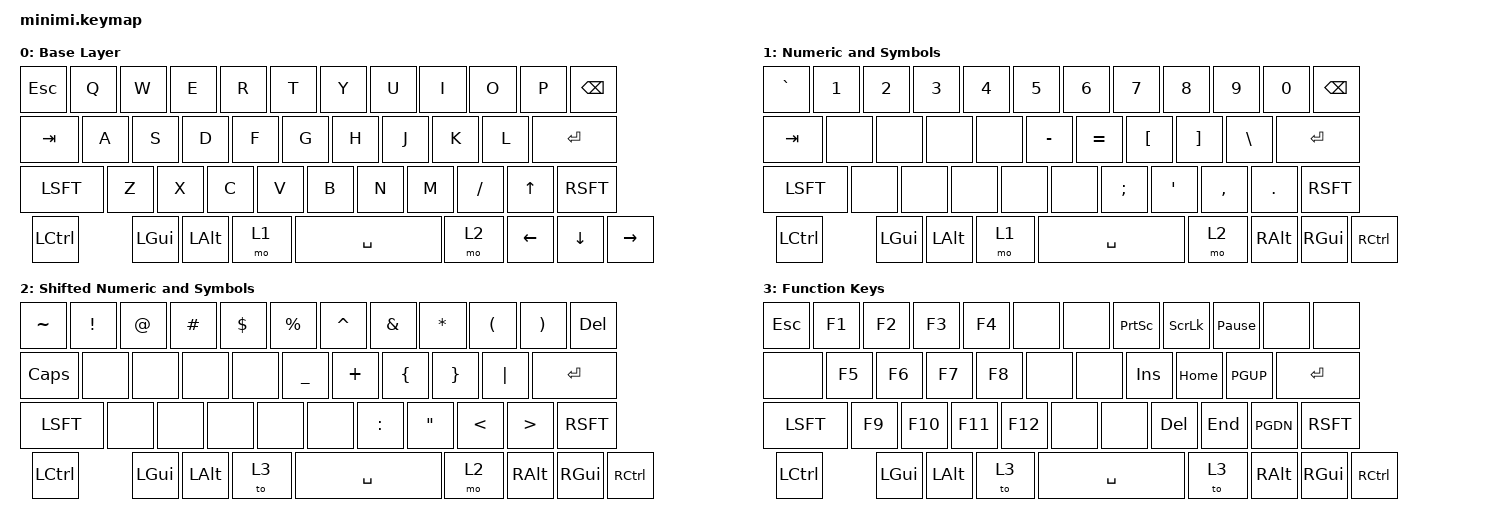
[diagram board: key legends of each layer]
// This file was generated from a template. Edit it to match your keyboard.
// See https://zmk.dev/docs/development/hardware-integration/new-shield for more instructions.

#include <behaviors.dtsi>
#include <dt-bindings/zmk/keys.h>

/ {
    // Define a default keymap here.
    // See https://zmk.dev/docs/development/hardware-integration/new-shield#default-keymap.
    keymap {
        compatible = "zmk,keymap";

        // Layer 0: Base Alpha layout
        /*
         * ┌───┬───┬───┬───┬───┬───┬───┬───┬───┬───┬───┬───┐
         * │ESC│ Q │ W │ E │ R │ T │ Y │ U │ I │ O │ P │BKS│
         * ├───┴┬──┴┬──┴┬──┴┬──┴┬──┴┬──┴┬──┴┬──┴┬──┴┬──┴───┤
         * │TAB │ A │ S │ D │ F │ G │ H │ J │ K │ L │ ENT  │
         * ├────┴─┬─┴─┬─┴─┬─┴─┬─┴─┬─┴─┬─┴─┬─┴─┬─┴─┬─┴─┬────┤
         * │ SFT  │ Z │ X │ C │ V │ B │ N │ M │ / │ ↑ │SFT │
         * └┬───┬─┴─┬─┴─┬─┴──┬┴───┴───┴──┬┴───┼───┼───┼───┬┘
         *  │CTL│GUI│ALT│MO1 │   SPACE   │MO2 │ ← │ ↓ │ → │
         *  └───┴───┴───┴────┴───────────┴────┴───┴───┴───┘
         */
        default_layer {
            display-name = "Base Layer";
            bindings = <
                &kp ESC   &kp Q     &kp W     &kp E     &kp R     &kp T     &kp Y     &kp U     &kp I     &kp O     &kp P     &kp BSPC
                &kp TAB   &kp A     &kp S     &kp D     &kp F     &kp G     &kp H     &kp J     &kp K     &kp L     &kp RET
                &kp LSFT  &kp Z     &kp X     &kp C     &kp V     &kp B     &kp N     &kp M     &kp FSLH  &kp UP    &kp RSFT
                &kp LCTRL &kp LGUI  &kp LALT  &mo 1               &kp SPACE           &mo 2     &kp LEFT  &kp DOWN  &kp RIGHT
            >;
        };

        // Layer 1: Numeric and Symbols
        /*
         * ┌───┬───┬───┬───┬───┬───┬───┬───┬───┬───┬───┬───┐
         * │ ` │ 1 │ 2 │ 3 │ 4 │ 5 │ 6 │ 7 │ 8 │ 9 │ 0 │BKS│
         * ├───┴┬──┴┬──┴┬──┴┬──┴┬──┴┬──┴┬──┴┬──┴┬──┴┬──┴───┤
         * │TAB │   │   │   │   │ - │ = │ [ │ ] │ \ │ ENT  │
         * ├────┴─┬─┴─┬─┴─┬─┴─┬─┴─┬─┴─┬─┴─┬─┴─┬─┴─┬─┴─┬────┤
         * │ SFT  │   │   │   │   │   │ ; │ ' │ , │ . │SFT │
         * └┬───┬─┴─┬─┴─┬─┴──┬┴───┴───┴──┬┴───┼───┼───┼───┬┘
         *  │CTL│GUI│ALT│MO1 │   SPACE   │MO2 │ALT│GUI│CTL│
         *  └───┴───┴───┴────┴───────────┴────┴───┴───┴───┘
         */
        layer_1 {
            display-name = "Numeric and Symbols";
            bindings = <
                &kp GRAVE &kp N1    &kp N2    &kp N3    &kp N4    &kp N5    &kp N6    &kp N7    &kp N8    &kp N9    &kp N0    &kp BSPC
                &kp TAB   &none     &none     &none     &none     &kp MINUS &kp EQUAL &kp LBKT  &kp RBKT  &kp BSLH  &kp RET
                &kp LSFT  &none     &none     &none     &none     &none     &kp SEMI  &kp SQT   &kp COMMA &kp DOT   &kp RSFT
                &kp LCTRL &kp LGUI  &kp LALT  &mo 1               &kp SPACE           &mo 2     &kp RALT  &kp RGUI  &kp RCTRL
            >;
        };

        // Layer 2: Shifted Numeric and Symbols
        /*
         * ┌───┬───┬───┬───┬───┬───┬───┬───┬───┬───┬───┬───┐
         * │ ~ │ ! │ @ │ # │ $ │ % │ ^ │ & │ * │ ( │ ) │DEL│
         * ├───┴┬──┴┬──┴┬──┴┬──┴┬──┴┬──┴┬──┴┬──┴┬──┴┬──┴───┤
         * │CAPS│   │   │   │   │ _ │ + │ { │ } │ | │ ENT  │
         * ├────┴─┬─┴─┬─┴─┬─┴─┬─┴─┬─┴─┬─┴─┬─┴─┬─┴─┬─┴─┬────┤
         * │ SFT  │   │   │   │   │   │ : │ " │ < │ > │SFT │
         * └┬───┬─┴─┬─┴─┬─┴──┬┴───┴───┴──┬┴───┼───┼───┼───┬┘
         *  │CTL│GUI│ALT│TG3 │   SPACE   │MO2 │ALT│GUI│CTL│
         *  └───┴───┴───┴────┴───────────┴────┴───┴───┴───┘
         */
        layer_2 {
            display-name = "Shifted Numeric and Symbols";
            bindings = <
                &kp TILDE &kp EXCL  &kp AT    &kp HASH  &kp DLLR  &kp PRCNT &kp CARET &kp AMPS  &kp STAR &kp LPAR  &kp RPAR  &kp DEL
                &kp CAPS  &none     &none     &none     &none     &kp UNDER &kp PLUS  &kp LBRC  &kp RBRC  &kp PIPE  &kp RET
                &kp LSFT  &none     &none     &none     &none     &none     &kp COLN  &kp DQT   &kp LT    &kp GT    &kp RSFT
                &kp LCTRL &kp LGUI  &kp LALT  &to 3               &kp SPACE           &mo 2     &kp RALT  &kp RGUI  &kp RCTRL
            >;
        };

        // Layer 3: Function Keys
        /*
         * ┌───┬───┬───┬───┬───┬───┬───┬───┬───┬───┬───┬───┐
         * │ESC│F1 │F2 │F3 │F4 │   │   │PRT│SCR│PUS│   │   │
         * ├───┴┬──┴┬──┴┬──┴┬──┴┬──┴┬──┴┬──┴┬──┴┬──┴┬──┴───┤
         * │    │F5 │F6 │F7 │F8 │   │   │INS│HOM│PGU│ ENT  │
         * ├────┴─┬─┴─┬─┴─┬─┴─┬─┴─┬─┴─┬─┴─┬─┴─┬─┴─┬─┴─┬────┤
         * │ SFT  │F9 │F10│F11│F12│   │   │DEL│END│PGD│SFT │
         * └┬───┬─┴─┬─┴─┬─┴──┬┴───┴───┴──┬┴───┼───┼───┼───┬┘
         *  │CTL│GUI│ALT│TG3 │   SPACE   │TG3 │ALT│GUI│CTL│
         *  └───┴───┴───┴────┴───────────┴────┴───┴───┴───┘
         */
        layer_3 {
            display-name = "Function Keys";
            bindings = <
                &kp ESC   &kp F1    &kp F2    &kp F3    &kp F4    &none     &none     &kp PSCRN &kp SLCK  &kp PAUSE_BREAK &none     &none
                &none     &kp F5    &kp F6    &kp F7    &kp F8    &none     &none     &kp INS   &kp HOME  &kp PGUP  &kp RET
                &kp LSFT  &kp F9    &kp F10   &kp F11   &kp F12   &none     &none     &kp DEL   &kp END   &kp PGDN  &kp RSFT
                &kp LCTRL &kp LGUI  &kp LALT  &to 3               &kp SPACE           &to 3     &kp RALT  &kp RGUI  &kp RCTRL
            >;
        };
    };
};
